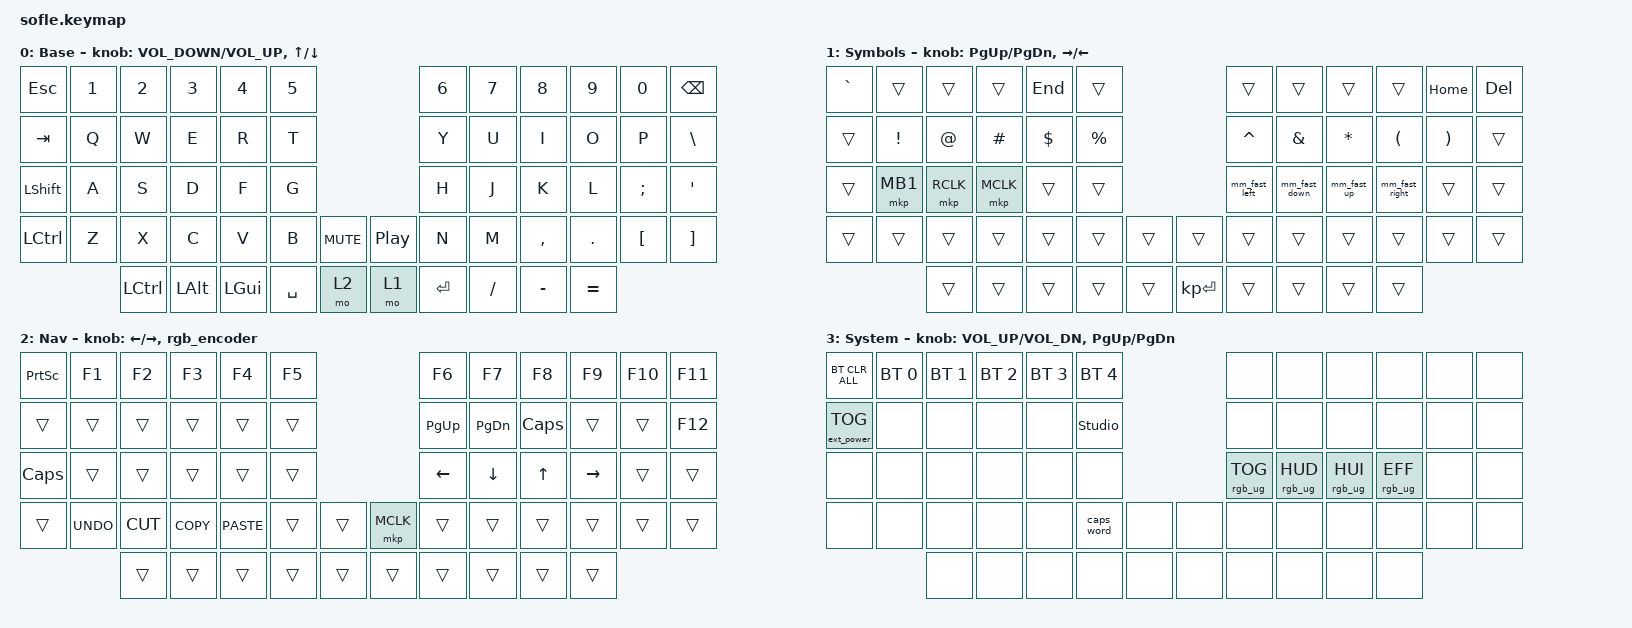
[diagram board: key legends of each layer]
/*
 * Copyright (c) 2020 The ZMK Contributors
 *
 * SPDX-License-Identifier: MIT
 */

#include <behaviors.dtsi>
#include <dt-bindings/zmk/bt.h>
#include <dt-bindings/zmk/ext_power.h>
#include <dt-bindings/zmk/keys.h>
#include <dt-bindings/zmk/pointing.h>
#include <dt-bindings/zmk/rgb.h>

// Encoders

&sensors { triggers-per-rotation = <50>; };

&left_encoder { steps = <100>; };

&right_encoder { steps = <100>; };

#define BASE 0
#define LOWER 1
#define RAISE 2
#define ADJUST 3
#define ZMK_POINTING_DEFAULT_MOVE_VAL 1000

/ {
    // Activate ADJUST layer by pressing raise and lower

    conditional_layers {
        compatible = "zmk,conditional-layers";

        adjust_layer {
            if-layers = <LOWER RAISE>;
            then-layer = <ADJUST>;
        };
    };

    combos {
        compatible = "zmk,combos";

        backspace {
            bindings = <&kp BACKSPACE>;
            key-positions = <32 31>;
        };

        delete {
            bindings = <&kp DELETE>;
            key-positions = <24 11>;
            layers = <0>;
        };

        esc {
            bindings = <&kp ESCAPE>;
            key-positions = <25 41>;
        };
    };

    key_overrides {
        compatible = "zmk,key-overrides";

        bs_del {
            bindings = <&kp DEL>;
            mods = <(MOD_LSFT|MOD_RSFT)>;
            keys = <BACKSPACE>;
        };

        esc_caps {
            bindings = <&kp CAPS>;
            mods = <(MOD_LSFT|MOD_RSFT)>;
            keys = <ESCAPE>;
        };
    };

    behaviors {
        caps: caps {
            compatible = "zmk,behavior-caps-word";
            label = "CAPS";
            #binding-cells = <0>;
            continue-list = <POUND MINUS BACKSPACE UNDERSCORE>;
        };

        rgb_encoder: rgb_encoder {
            compatible = "zmk,behavior-sensor-rotate";
            #sensor-binding-cells = <0>;
            bindings = <&rgb_ug RGB_BRI>, <&rgb_ug RGB_BRD>;
        };

        mm_fast_left: mm_fast_left {
            compatible = "zmk,behavior-mod-morph";
            #binding-cells = <0>;
            bindings = <&mmv MOVE_LEFT>, <&macro_tap &fast_left>;

            mods = <(MOD_LSFT|MOD_RSFT)>;
        };

        mm_fast_right: mm_fast_right {
            compatible = "zmk,behavior-mod-morph";
            #binding-cells = <0>;
            bindings = <&mmv MOVE_RIGHT>, <&macro_tap &fast_right>;

            mods = <(MOD_LSFT|MOD_RSFT)>;
        };

        mm_fast_up: mm_fast_up {
            compatible = "zmk,behavior-mod-morph";
            #binding-cells = <0>;
            bindings = <&mmv MOVE_UP>, <&macro_tap &fast_up>;

            mods = <(MOD_LSFT|MOD_RSFT)>;
        };

        mm_fast_down: mm_fast_down {
            compatible = "zmk,behavior-mod-morph";
            #binding-cells = <0>;
            bindings = <&mmv MOVE_DOWN>, <&macro_tap &fast_down>;

            mods = <(MOD_LSFT|MOD_RSFT)>;
        };
    };

    macros {
        fast_left: fast_left {
            compatible = "zmk,behavior-macro";
            #binding-cells = <0>;
            bindings = <&mmv MOVE_LEFT &mmv MOVE_LEFT>;
        };

        fast_right: fast_right {
            compatible = "zmk,behavior-macro";
            #binding-cells = <0>;
            bindings = <&mmv MOVE_RIGHT &mmv MOVE_RIGHT>;
        };

        fast_up: fast_up {
            compatible = "zmk,behavior-macro";
            #binding-cells = <0>;
            bindings = <&mmv MOVE_UP &mmv MOVE_UP>;
        };

        fast_down: fast_down {
            compatible = "zmk,behavior-macro";
            #binding-cells = <0>;
            bindings = <&mmv MOVE_DOWN &mmv MOVE_DOWN>;
        };
    };

    keymap {
        compatible = "zmk,keymap";

        default_layer {
            display-name = "Base";

            // ------------------------------------------------------------------------------------------------------------
            // |   `   |  1  |  2  |  3   |  4   |  5   |                   |  6   |  7    |  8    |  9   |   0   |       |
            // |  ESC  |  Q  |  W  |  E   |  R   |  T   |                   |  Y   |  U    |  I    |  O   |   P   | BKSPC |
            // |  TAB  |  A  |  S  |  D   |  F   |  G   |                   |  H   |  J    |  K    |  L   |   ;   |   '   |
            // | SHIFT |  Z  |  X  |  C   |  V   |  B   |  MUTE  |  |       |  N   |  M    |  ,    |  .   |   /   | SHIFT |
            //               | GUI | ALT  | CTRL | LOWER|  ENTER |  | SPACE | RAISE| CTRL  | ALT   | GUI  |

            bindings = <
&kp ESCAPE        &kp N1  &kp N2            &kp N3    &kp N4        &kp N5                                     &kp N6     &kp N7     &kp N8     &kp N9     &kp N0            &kp BACKSPACE
&kp TAB           &kp Q   &kp W             &kp E     &kp R         &kp T                                      &kp Y      &kp U      &kp I      &kp O      &kp P             &kp BACKSLASH
&kp LEFT_SHIFT    &kp A   &kp S             &kp D     &kp F         &kp G                                      &kp H      &kp J      &kp K      &kp L      &kp SEMI          &kp SQT
&kp LEFT_CONTROL  &kp Z   &kp X             &kp C     &kp V         &kp B      &kp C_MUTE    &kp C_PLAY_PAUSE  &kp N      &kp M      &kp COMMA  &kp DOT    &kp LEFT_BRACKET  &kp RIGHT_BRACKET
                          &kp LEFT_CONTROL  &kp LALT  &kp LEFT_GUI  &kp SPACE  &mo 2         &mo 1             &kp ENTER  &kp SLASH  &kp MINUS  &kp EQUAL
            >;

            sensor-bindings =
                <&inc_dec_kp C_VOLUME_DOWN C_VOLUME_UP>,
                <&inc_dec_kp UP DOWN>;
        };

        lower_layer {
            display-name = "Symbols";

            // TODO: Some binds are waiting for shifted keycode support.
            // ------------------------------------------------------------------------------------------------------------
            // |       |  F1 |  F2 |  F3  |  F4  |  F5  |                   |  F6  |  F7   |  F8   |  F9  |  F10  |  F11  |
            // |   `   |  1  |  2  |  3   |  4   |  5   |                   |  6   |  7    |  8    |  9   |   0   |  F12  |
            // |       |  !  |  @  |  #   |  $   |  %   |                   |  ^   |  &    |  *    |  (   |   )   |   |   |
            // |       |  =  |  -  |  +   |  {   |  }   |        |  |       |  [   |  ]    |  ;    |  :   |   \   |       |
            //               |     |      |      |      |        |  |       |      |       |       |      |

            bindings = <
&kp GRAVE  &trans           &trans       &trans     &kp END     &trans                               &trans         &trans         &trans       &trans                &kp HOME               &kp DELETE
&trans     &kp EXCLAMATION  &kp AT_SIGN  &kp HASH   &kp DOLLAR  &kp PERCENT                          &kp CARET      &kp AMPERSAND  &kp ASTRK    &kp LEFT_PARENTHESIS  &kp RIGHT_PARENTHESIS  &trans
&trans     &mkp MB1         &mkp RCLK    &mkp MCLK  &trans      &trans                               &mm_fast_left  &mm_fast_down  &mm_fast_up  &mm_fast_right        &trans                 &trans
&trans     &trans           &trans       &trans     &trans      &trans       &trans    &trans        &trans         &trans         &trans       &trans                &trans                 &trans
                            &trans       &trans     &trans      &trans       &trans    &kp KP_ENTER  &trans         &trans         &trans       &trans
            >;

            sensor-bindings =
                <&inc_dec_kp PAGE_UP PAGE_DOWN>,
                <&inc_dec_kp RIGHT_ARROW LEFT_ARROW>;
        };

        raise_layer {
            display-name = "Nav";

            // ------------------------------------------------------------------------------------------------------------
            // | BTCLR | BT1  | BT2  |  BT3  |  BT4  |  BT5 |                |      |      |       |      |       |       |
            // |       | INS  | PSCR | GUI   |       |      |                | PGUP |      |   ^   |      |       |       |
            // |       | ALT  | CTRL | SHIFT |       | CAPS |                | PGDN |   <- |   v   |  ->  |  DEL  | BKSPC |
            // |       | UNDO | CUT  | COPY  | PASTE |      |      |  |      |      |      |       |      |       |       |
            //                |      |       |       |      |      |  |      |      |      |       |      |

            bindings = <
&kp PRINTSCREEN  &kp F1      &kp F2     &kp F3      &kp F4       &kp F5                       &kp F6     &kp F7         &kp F8        &kp F9     &kp F10  &kp F11
&trans           &trans      &trans     &trans      &trans       &trans                       &kp PG_UP  &kp PAGE_DOWN  &kp CAPSLOCK  &trans     &trans   &kp F12
&kp CAPSLOCK     &trans      &trans     &trans      &trans       &trans                       &kp LEFT   &kp DOWN       &kp UP_ARROW  &kp RIGHT  &trans   &trans
&trans           &kp K_UNDO  &kp K_CUT  &kp K_COPY  &kp K_PASTE  &trans  &trans    &mkp MCLK  &trans     &trans         &trans        &trans     &trans   &trans
                             &trans     &trans      &trans       &trans  &trans    &trans     &trans     &trans         &trans        &trans
            >;

            sensor-bindings = <&inc_dec_kp LEFT RIGHT_ARROW>, <&rgb_encoder>;
        };

        adjust_layer {
            // ----------------------------------------------------------------------------------------------------------------------------
            // | BTCLR  |  BT1    |  BT2    |   BT3   |   BT4   |   BT5   |                  |      |      |       |      |       |       |
            // | EXTPWR | RGB_HUD | RGB_HUI | RGB_SAD | RGB_SAI | RGB_EFF |                  |      |      |       |      |       |       |
            // |        | RGB_BRD | RGB_BRI |         |         |         |                  |      |      |       |      |       |       |
            // |        |         |         |         |         |         | RGB_TOG | |      |      |      |       |      |       |       |
            //                    |         |         |         |         |         | |      |      |      |       |      |

            display-name = "System";
            bindings = <
&bt BT_CLR_ALL     &bt BT_SEL 0  &bt BT_SEL 1  &bt BT_SEL 2  &bt BT_SEL 3  &bt BT_SEL 4                    &none            &none            &none            &none            &none  &none
&ext_power EP_TOG  &none         &none         &none         &none         &studio_unlock                  &none            &none            &none            &none            &none  &none
&none              &none         &none         &none         &none         &none                           &rgb_ug RGB_TOG  &rgb_ug RGB_HUD  &rgb_ug RGB_HUI  &rgb_ug RGB_EFF  &none  &none
&none              &none         &none         &none         &none         &caps_word      &none    &none  &none            &none            &none            &none            &none  &none
                                 &none         &none         &none         &none           &none    &none  &none            &none            &none            &none
            >;

            sensor-bindings = <&inc_dec_kp C_VOL_UP C_VOL_DN &inc_dec_kp PG_UP PG_DN>;
        };
    };
};
